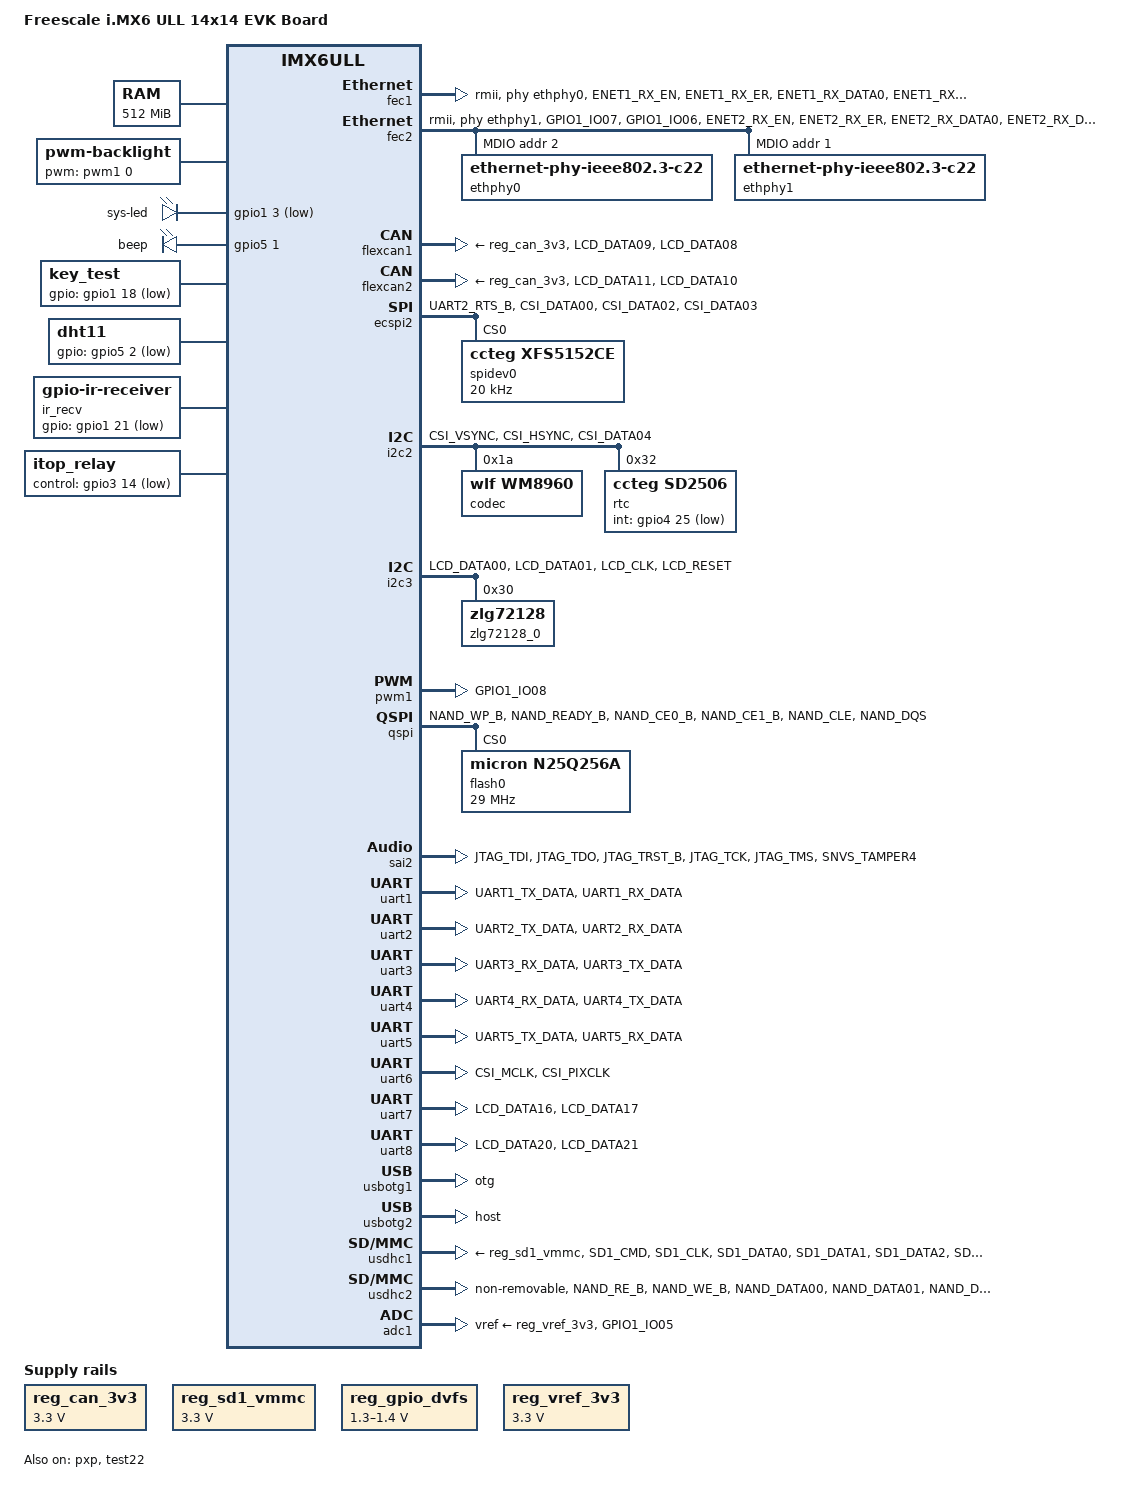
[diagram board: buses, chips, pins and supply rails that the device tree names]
/*
 * Copyright (C) 2016 Freescale Semiconductor, Inc.
 *
 * This program is free software; you can redistribute it and/or modify
 * it under the terms of the GNU General Public License version 2 as
 * published by the Free Software Foundation.
 */

/dts-v1/;

#include <dt-bindings/input/input.h>
#include "imx6ull.dtsi"

/ {
	model = "Freescale i.MX6 ULL 14x14 EVK Board";
	compatible = "fsl,imx6ull-14x14-evk", "fsl,imx6ull";

	chosen {
		stdout-path = &uart1;
	};

	memory {
		reg = <0x80000000 0x20000000>;
	};

	reserved-memory {
		#address-cells = <1>;
		#size-cells = <1>;
		ranges;

		linux,cma {
			compatible = "shared-dma-pool";
			reusable;
			size = <0x14000000>;
			linux,cma-default;
		};
	};

	backlight {
		compatible = "pwm-backlight";
		pwms = <&pwm1 0 5000000>;
		brightness-levels = <0 4 8 16 32 64 128 255>;
		default-brightness-level = <6>;
		status = "okay";
	};

	pxp_v4l2 {
		compatible = "fsl,imx6ul-pxp-v4l2", "fsl,imx6sx-pxp-v4l2", "fsl,imx6sl-pxp-v4l2";
		status = "okay";
	};

	regulators {
		compatible = "simple-bus";
		#address-cells = <1>;
		#size-cells = <0>;

		reg_can_3v3: regulator@0 {
			compatible = "regulator-fixed";
			reg = <0>;
			regulator-name = "can-3v3";
			regulator-min-microvolt = <3300000>;
			regulator-max-microvolt = <3300000>;
			/*gpios = <&gpio_spi 3 GPIO_ACTIVE_LOW>;*/
		};

		reg_sd1_vmmc: regulator@1 {
			compatible = "regulator-fixed";
			regulator-name = "VSD_3V3";
			regulator-min-microvolt = <3300000>;
			regulator-max-microvolt = <3300000>;
			/* gpio = <&gpio1 9 GPIO_ACTIVE_HIGH>; */
			enable-active-high;
		};

		reg_gpio_dvfs: regulator-gpio {
			compatible = "regulator-gpio";
			pinctrl-names = "default";
			pinctrl-0 = <&pinctrl_dvfs>;
			regulator-min-microvolt = <1300000>;
			regulator-max-microvolt = <1400000>;
			regulator-name = "gpio_dvfs";
			regulator-type = "voltage";
			gpios = <&gpio5 3 GPIO_ACTIVE_HIGH>;
			states = <1300000 0x1 1400000 0x0>;
		};

		reg_vref_3v3: regulator@2 {
                        compatible = "regulator-fixed";
                        regulator-name = "vref-3v3";
                        regulator-min-microvolt = <3300000>;
                        regulator-max-microvolt = <3300000>;
                };
	};

	leds {
		compatible = "gpio-leds";
		pinctrl-names = "default";
		pinctrl-0 = <&pinctrl_gpio_leds
			&pinctrl_beep>;

		led1{
			label = "sys-led";
			gpios = <&gpio1 3 GPIO_ACTIVE_LOW>;
			linux,default-trigger = "heartbeat";
			default-state = "on";
		};

		beep{
			label = "beep";
			gpios = <&gpio5 1 GPIO_ACTIVE_HIGH>;
			default-state = "off";
		};
	};

	/*gpio_keys: gpio_keys@0 {
		compatible = "gpio-keys";
		pinctrl-names = "default";
		pinctrl-0 = <&pinctrl_gpio_keys>;
		#address-cells = <1>;
		#size-cells = <0>;
		autorepeat;

		key1@1 {
			label = "USER-KEY1";
			linux,code = <114>;
			gpios = <&gpio1 18 GPIO_ACTIVE_LOW>;
			gpio-key,wakeup;
		};
	};*/
	key_test:key_test{
		compatible = "key_test";
		pinctrl-names = "defaults";
		pinctrl-0 = <&pinctrl_gpio_keys>;
		gpios = <&gpio1 18 GPIO_ACTIVE_LOW>;
	};

	sound {
		compatible = "fsl,imx6ul-evk-wm8960",
			   "fsl,imx-audio-wm8960";
		model = "wm8960-audio";
		cpu-dai = <&sai2>;
		audio-codec = <&codec>;
		asrc-controller = <&asrc>;
		codec-master;
		gpr = <&gpr 4 0x100000 0x100000>;
		/*
                 * hp-det = <hp-det-pin hp-det-polarity>;
		 * hp-det-pin: JD1 JD2  or JD3
		 * hp-det-polarity = 0: hp detect high for headphone
		 * hp-det-polarity = 1: hp detect high for speaker
		 */
		hp-det = <3 1>;
		/* hp-det-gpios = <&gpio5 4 0>;
		mic-det-gpios = <&gpio5 4 0>; */
		audio-routing =
			"Headphone Jack", "HP_L",
			"Headphone Jack", "HP_R",
			"Ext Spk", "SPK_LP",
			"Ext Spk", "SPK_LN",
			"Ext Spk", "SPK_RP",
			"Ext Spk", "SPK_RN",
			"LINPUT2", "Mic Jack",
			"LINPUT3", "Mic Jack",
			"RINPUT1", "Main MIC",
			"RINPUT2", "Main MIC",
			"Mic Jack", "MICB",
			"Main MIC", "MICB",
			"CPU-Playback", "ASRC-Playback",
			"Playback", "CPU-Playback",
			"ASRC-Capture", "CPU-Capture",
			"CPU-Capture", "Capture";
	};

/*
	spi4 {
		compatible = "spi-gpio";
		pinctrl-names = "default";
		pinctrl-0 = <&pinctrl_spi4>;
		pinctrl-assert-gpios = <&gpio5 8 GPIO_ACTIVE_LOW>;
		status = "disabled";//"okay";
		gpio-sck = <&gpio5 11 0>;
		gpio-mosi = <&gpio5 10 0>;
		cs-gpios = <&gpio5 7 0>;
		num-chipselects = <1>;
		#address-cells = <1>;
		#size-cells = <0>;

		gpio_spi: gpio_spi@0 {
			compatible = "fairchild,74hc595";
			gpio-controller;
			#gpio-cells = <2>;
			reg = <0>;
			registers-number = <1>;
			registers-default = /bits/ 8 <0x57>;
			spi-max-frequency = <100000>;
		};
	};
*/
	/*spi4 {
                compatible = "spi-gpio";
                pinctrl-names = "default";
                pinctrl-0 = <&pinctrl_spi4>;

                status = "okay";
                gpio-sck = <&gpio5 11 0>;
                gpio-mosi = <&gpio5 10 0>;
                gpio-miso = <&gpio3 7 0>;
                cs-gpios = <&gpio3 22 0>;
                num-chipselects = <1>;
                #address-cells = <1>;
                #size-cells = <0>;

                rc522: rc522@0 {
                        compatible = "rc522";
                        gpio-controller;
                        spi-tx-bus-width = <4>;
                        spi-rx-bus-width = <4>;
                        reset-rc522 = <&gpio3 5 0>;
                        reg = <0>;
                        spi-max-frequency = <4000000>;
                };
        };*/

	sii902x_reset: sii902x-reset {
		compatible = "gpio-reset";
		pinctrl-names = "default";
                pinctrl-0 = <&pinctrl_sii902x_reset>;
		reset-gpios = <&gpio3 21 GPIO_ACTIVE_LOW>;
		reset-delay-us = <100000>;
		#reset-cells = <0>;
		status = "disabled";
	};

	ds18b20{
                compatible = "w1-gpio";
                gpios = <&gpio5 2 GPIO_ACTIVE_HIGH>;
                linux,open-drain;
                pinctrl-names = "default";
                pinctrl-0 = <&pinctrl_onewire>;
                status = "disable";
        };

        dht11{
                compatible = "dht11";
                gpios = <&gpio5 2 GPIO_ACTIVE_LOW>;
                linux,open-drain;
                pinctrl-names = "default";
                pinctrl-0 = <&pinctrl_onewire>;
                status = "okay";
        };

	ir_recv:ir-receiver {
                        compatible = "gpio-ir-receiver";
                        #gpio-cells = <1>;
                        gpios = <&gpio1 21 GPIO_ACTIVE_LOW>;
                        pinctrl-names = "default";
                        pinctrl-0 = <&pinctrl_remote_control>;
                        linux,rc-map-name = "rc-lirc";
                        status = "okay";
        };

	relay {
                compatible = "itop_relay";
                pinctrl-names = "default";
                control-gpio = <&gpio3 14 1>;
                status = "okay";
        };
	test22:test2{
		#adress-cells = <1>;
		#size-cells = <1>;
		compatible = "test";
		reg = <0x20ac000 0x0000004>;
		status = "okay";
	};
};

&cpu0 {
	arm-supply = <&reg_arm>;
	soc-supply = <&reg_soc>;
	dc-supply = <&reg_gpio_dvfs>;
};

&clks {
	assigned-clocks = <&clks IMX6UL_CLK_PLL4_AUDIO_DIV>;
	assigned-clock-rates = <786432000>;
};

/*&csi {
	status = "okay";

	port {
		csi1_ep: endpoint {
			remote-endpoint = <&ov5640_ep>;
		};
	};
};*/

&fec1 {
	pinctrl-names = "default";
	pinctrl-0 = <&pinctrl_enet1
			&pinctrl_fec1_reset>;
	phy-mode = "rmii";
	phy-handle = <&ethphy0>;
	phy-reset-gpios = <&gpio3 19 GPIO_ACTIVE_LOW>;
	phy-reset-duration = <600>;
	status = "okay";
};

&fec2 {
	pinctrl-names = "default";
	pinctrl-0 = <&pinctrl_enet2
			&pinctrl_fec2_reset>;
	phy-mode = "rmii";
	phy-handle = <&ethphy1>;
	phy-reset-gpios = <&gpio3 23 GPIO_ACTIVE_LOW>;
	phy-reset-duration = <600>;
	status = "okay";

	mdio {
		#address-cells = <1>;
		#size-cells = <0>;

		ethphy0: ethernet-phy@2 {
			compatible = "ethernet-phy-ieee802.3-c22";
			reg = <2>;
		};

		ethphy1: ethernet-phy@1 {
			compatible = "ethernet-phy-ieee802.3-c22";
			reg = <1>;
		};
	};
};

&flexcan1 {
	pinctrl-names = "default";
	pinctrl-0 = <&pinctrl_flexcan1>;
	xceiver-supply = <&reg_can_3v3>;
	status = "okay";
};

&flexcan2 {
	pinctrl-names = "default";
	pinctrl-0 = <&pinctrl_flexcan2>;
	xceiver-supply = <&reg_can_3v3>;
	status = "okay";
};

&gpc {
	fsl,cpu_pupscr_sw2iso = <0x1>;
	fsl,cpu_pupscr_sw = <0x0>;
	fsl,cpu_pdnscr_iso2sw = <0x1>;
	fsl,cpu_pdnscr_iso = <0x1>;
	fsl,ldo-bypass = <0>; /* DCDC, ldo-enable */
};

/*&i2c1 {
	clock-frequency = <100000>;
	pinctrl-names = "default";
	pinctrl-0 = <&pinctrl_i2c1>;
	status = "okay";*/

/*
	mag3110@0e {
		compatible = "fsl,mag3110";
		reg = <0x0e>;
		position = <2>;
	};
*/

	/*fxls8471@1e {
		compatible = "fsl,fxls8471";
		reg = <0x1e>;
		position = <0>;
		interrupt-parent = <&gpio5>;
		interrupts = <0 8>;
	};*/

/*	mpu6050@68 {
                compatible = "mpu6050,INV_MPU6050";
		interrupt-parent = <&gpio5>;
                interrupts = <0 0>;
                reg = <0x68>;
                //position = <1>;
        };

	ap3216c@1e {
                compatible = "ap3216c";
                reg = <0x1e>;
        };

	eeprom1: eeprom@50 {
                compatible = "atmel,24c02";
                reg = <0x50>;
                pagesize = <16>;
        };
};*/

&ecspi2{
	fsl,spi-num-chipselects = <1>;
	cs-gpio = <&gpio1 23 GPIO_ACTIVE_LOW>;
	pinctrl-names = "default";
	pinctrl-0 = <&pinctrl_ecspi2>;
	status = "okay";
	#address-cells = <1>;
	#size-cells = <0>; 

	spidev0:xfs5152ce@0 {               /*@后面的0表示此SPI芯片接到哪个硬件片选上*/
		compatible = "ccteg,xfs5152ce";
		spi-max-frequency = <20000>;
		reg = <0>;
	};
};

&i2c2 {
	clock_frequency = <100000>;
	pinctrl-names = "default";
	pinctrl-0 = <&pinctrl_i2c2>;
	status = "okay";

	codec: wm8960@1a {
		compatible = "wlf,wm8960";
		reg = <0x1a>;
		clocks = <&clks IMX6UL_CLK_SAI2>;
		clock-names = "mclk";
		wlf,shared-lrclk;
	};

	/*ov5640: ov5640@3c {
		compatible = "ovti,ov5640";
		reg = <0x3c>;
		pinctrl-names = "default";
		pinctrl-0 = <&pinctrl_csi1
				&csi_pwn_rst>;
		clocks = <&clks IMX6UL_CLK_CSI>;
		clock-names = "csi_mclk";
		pwn-gpios = <&gpio1 4 1>;
		rst-gpios = <&gpio1 2 0>; 
		csi_id = <0>;
		mclk = <24000000>;
		mclk_source = <0>;
		status = "okay";
		port {
			ov5640_ep: endpoint {
				remote-endpoint = <&csi1_ep>;
			};
		};
	};*/

	tsc2007@48 {
                compatible = "ti,tsc2007";
                reg = <0x48>;
                pinctrl-names = "default";
                pinctrl-0 = <&ts_int_pin>;
                interrupt-parent = <&gpio1>;
                interrupts = <9 0>;
                gpios = <&gpio1 9 GPIO_ACTIVE_LOW>;
                ti,x-plate-ohms = <660>;
                status = "disabled";
	};

	edt-ft5x06@38 {
                compatible = "edt,edt-ft5306", "edt,edt-ft5x06", "edt,edt-ft5406";
                pinctrl-names = "default";
                pinctrl-0 = <&ts_int_pin
                             &ts_reset_pin>;

                reg = <0x38>;
                interrupt-parent = <&gpio1>;
                interrupts = <9 0>;
                reset-gpios = <&gpio5 9 GPIO_ACTIVE_LOW>;
                irq-gpios = <&gpio1 9 GPIO_ACTIVE_LOW>;
                status = "disabled";
        };

	goodix_ts@5d{
                        compatible = "goodix,gt911";
                        reg = <0x5d>;
			status = "disabled";
                        interrupt-parent = <&gpio1>;
                        interrupts = <9 0>;
			pinctrl-0 = <&ts_int_pin
                             	     &ts_reset_pin>;
                        goodix_rst=<&gpio5 9 0>;
                        goodix_int=<&gpio1 9 0>;

        };

	sii902x: sii902x@39 {
                compatible = "SiI,sii902x";
                pinctrl-names = "default";
                pinctrl-0 = <&pinctrl_sii902x>;
                interrupt-parent = <&gpio5>;
                interrupts = <3 IRQ_TYPE_EDGE_FALLING>;
                irq-gpios = <&gpio5 3 GPIO_ACTIVE_LOW>;
                mode_str = "1280x720M@60";
                bits-per-pixel = <16>;
                resets = <&sii902x_reset>;
                reg = <0x39>;
                status = "disabled";
        };

	rtc@32{
        compatible = "ccteg,sd2506";
                reg = <0x32>;
		int_gpios = <&gpio4 25 GPIO_ACTIVE_LOW>;
        };
};
&i2c3{
	clock_frequency = <400000>;
	pinctrl-names = "default";
	pinctrl-0 = <&pinctrl_i2c3>;
	status = "okay";
	zlg72128_0: zlg72128_0@30 {
				compatible = "zlg72128";
				reg = <0x30>;
				i2cline = <3>;
				sla = <0x30>;
				irq = <96>;
				rst = <100>;
				keys_list = <
				 1 2 3 4 5 6 7 8
				 9 30 48 46 32 18 33 34
				 35 23 36 37 38 50 49 24
				 59 60 61 62 63 64 65 66
				>;
				 };
};
&iomuxc {
	pinctrl-names = "default";
	pinctrl-0 = <&pinctrl_hog_1>;
	imx6ul-evk {
		pinctrl_hog_1: hoggrp-1 {
			fsl,pins = <
				MX6UL_PAD_UART1_RTS_B__GPIO1_IO19	0x17059 /* SD1 CD */
				MX6UL_PAD_GPIO1_IO05__USDHC1_VSELECT	0x17059 /* SD1 VSELECT */
				MX6UL_PAD_GPIO1_IO00__ANATOP_OTG1_ID    0x13058 /* USB_OTG1_ID */
			>;
		};

		/*pinctrl_csi1: csi1grp {
			fsl,pins = <
				MX6UL_PAD_CSI_MCLK__CSI_MCLK		0x1e038
				MX6UL_PAD_CSI_PIXCLK__CSI_PIXCLK	0x1b088
				MX6UL_PAD_CSI_VSYNC__CSI_VSYNC		0x1b088
				MX6UL_PAD_CSI_HSYNC__CSI_HSYNC		0x1b088
				MX6UL_PAD_CSI_DATA00__CSI_DATA02	0x1b088
				MX6UL_PAD_CSI_DATA01__CSI_DATA03	0x1b088
				MX6UL_PAD_CSI_DATA02__CSI_DATA04	0x1b088
				MX6UL_PAD_CSI_DATA03__CSI_DATA05	0x1b088
				MX6UL_PAD_CSI_DATA04__CSI_DATA06	0x1b088
				MX6UL_PAD_CSI_DATA05__CSI_DATA07	0x1b088
				MX6UL_PAD_CSI_DATA06__CSI_DATA08	0x1b088
				MX6UL_PAD_CSI_DATA07__CSI_DATA09	0x1b088
			>;
		};*/

		pinctrl_enet1: enet1grp {
			fsl,pins = <
				MX6UL_PAD_ENET1_RX_EN__ENET1_RX_EN	0x1b088
				MX6UL_PAD_ENET1_RX_ER__ENET1_RX_ER	0x1b088
				MX6UL_PAD_ENET1_RX_DATA0__ENET1_RDATA00	0x1b088
				MX6UL_PAD_ENET1_RX_DATA1__ENET1_RDATA01	0x1b088
				MX6UL_PAD_ENET1_TX_EN__ENET1_TX_EN	0x1b088
				MX6UL_PAD_ENET1_TX_DATA0__ENET1_TDATA00	0x1b088
				MX6UL_PAD_ENET1_TX_DATA1__ENET1_TDATA01	0x1b088
				MX6UL_PAD_ENET1_TX_CLK__ENET1_REF_CLK1	0x4001b039
			>;
		};

		pinctrl_enet2: enet2grp {
			fsl,pins = <
				MX6UL_PAD_GPIO1_IO07__ENET2_MDC		0x1b088
				MX6UL_PAD_GPIO1_IO06__ENET2_MDIO	0x1b088
				MX6UL_PAD_ENET2_RX_EN__ENET2_RX_EN	0x1b088
				MX6UL_PAD_ENET2_RX_ER__ENET2_RX_ER	0x1b088
				MX6UL_PAD_ENET2_RX_DATA0__ENET2_RDATA00	0x1b088
				MX6UL_PAD_ENET2_RX_DATA1__ENET2_RDATA01	0x1b088
				MX6UL_PAD_ENET2_TX_EN__ENET2_TX_EN	0x1b088
				MX6UL_PAD_ENET2_TX_DATA0__ENET2_TDATA00	0x1b088
				MX6UL_PAD_ENET2_TX_DATA1__ENET2_TDATA01	0x1b088
				MX6UL_PAD_ENET2_TX_CLK__ENET2_REF_CLK2	0x4001b039
			>;
		};

		pinctrl_gpio_leds: gpio-leds {
			fsl,pins = <
				MX6UL_PAD_GPIO1_IO03__GPIO1_IO03        0x17059
			>;
		};

		pinctrl_gpio_keys: gpio-keys {
			fsl,pins = <
				MX6UL_PAD_UART1_CTS_B__GPIO1_IO18       0x80000000
			>;
		};

		pinctrl_flexcan1: flexcan1grp{
			fsl,pins = <
				MX6UL_PAD_LCD_DATA09__FLEXCAN1_RX	0x1b020
				MX6UL_PAD_LCD_DATA08__FLEXCAN1_TX 	0x1b020
			>;
		};

		pinctrl_flexcan2: flexcan2grp{
			fsl,pins = <
				MX6UL_PAD_LCD_DATA11__FLEXCAN2_RX	0x1b020
				MX6UL_PAD_LCD_DATA10__FLEXCAN2_TX	0x1b020
			>;
		};

		/*pinctrl_i2c1: i2c1grp {
			fsl,pins = <
				MX6UL_PAD_UART4_TX_DATA__I2C1_SCL 0x4001b8b0
				MX6UL_PAD_UART4_RX_DATA__I2C1_SDA 0x4001b8b0
			>;
		};*/

		pinctrl_i2c2: i2c2grp {
			fsl,pins = <

				MX6UL_PAD_CSI_VSYNC__I2C2_SDA 			0x4001b8b0
				MX6UL_PAD_CSI_HSYNC__I2C2_SCL			0x4001b8b0
				MX6UL_PAD_CSI_DATA04__GPIO4_IO25  		0x1a090
				/*MX6UL_PAD_UART5_TX_DATA__I2C2_SCL 0x4001b8b0
				MX6UL_PAD_UART5_RX_DATA__I2C2_SDA 0x4001b8b0*/
			>;
		};

		pinctrl_i2c3: i2c3grp{
			fsl,pins = <

				MX6UL_PAD_LCD_DATA00__I2C3_SDA 			0x4001b8b0
				MX6UL_PAD_LCD_DATA01__I2C3_SCL			0x4001b8b0
				MX6UL_PAD_LCD_CLK__GPIO3_IO00			0x1a090
				MX6UL_PAD_LCD_RESET__GPIO3_IO04  		0x1a090
			>;
		};

		/*pinctrl_lcdif_dat: lcdifdatgrp {
			fsl,pins = <*/
				/*MX6UL_PAD_LCD_DATA00__LCDIF_DATA00  0x79*/
				/* MX6UL_PAD_LCD_DATA01__LCDIF_DATA01  0x79 */
				/*MX6UL_PAD_LCD_DATA02__LCDIF_DATA02  0x79*/
				/* MX6UL_PAD_LCD_DATA03__LCDIF_DATA03  0x79
				MX6UL_PAD_LCD_DATA04__LCDIF_DATA04  0x79
				MX6UL_PAD_LCD_DATA05__LCDIF_DATA05  0x79
				MX6UL_PAD_LCD_DATA06__LCDIF_DATA06  0x79
				MX6UL_PAD_LCD_DATA07__LCDIF_DATA07  0x79 */
				/*MX6UL_PAD_LCD_DATA08__LCDIF_DATA08  0x79*/
				/*MX6UL_PAD_LCD_DATA09__LCDIF_DATA09  0x79*/
				/* MX6UL_PAD_LCD_DATA10__LCDIF_DATA10  0x79
				MX6UL_PAD_LCD_DATA11__LCDIF_DATA11  0x79
				MX6UL_PAD_LCD_DATA12__LCDIF_DATA12  0x79
				MX6UL_PAD_LCD_DATA13__LCDIF_DATA13  0x79
				MX6UL_PAD_LCD_DATA14__LCDIF_DATA14  0x79
				MX6UL_PAD_LCD_DATA15__LCDIF_DATA15  0x79 */
				/*MX6UL_PAD_LCD_DATA16__LCDIF_DATA16  0x79*/
				/*MX6UL_PAD_LCD_DATA17__LCDIF_DATA17  0x79*/
		/* 		MX6UL_PAD_LCD_DATA18__LCDIF_DATA18  0x79
				MX6UL_PAD_LCD_DATA19__LCDIF_DATA19  0x79
				MX6UL_PAD_LCD_DATA20__LCDIF_DATA20  0x79
				MX6UL_PAD_LCD_DATA21__LCDIF_DATA21  0x79
				MX6UL_PAD_LCD_DATA22__LCDIF_DATA22  0x79
				MX6UL_PAD_LCD_DATA23__LCDIF_DATA23  0x79
			>;
		};
 */
	/* 	pinctrl_lcdif_ctrl: lcdifctrlgrp {
			fsl,pins = <
				MX6UL_PAD_LCD_CLK__LCDIF_CLK	    0x79
				MX6UL_PAD_LCD_ENABLE__LCDIF_ENABLE  0x79
				MX6UL_PAD_LCD_HSYNC__LCDIF_HSYNC    0x79
				MX6UL_PAD_LCD_VSYNC__LCDIF_VSYNC    0x79
				MX6UL_PAD_LCD_DATA08__GPIO3_IO13        0x17059
			>;
		}; */

		pinctrl_pwm1: pwm1grp {
			fsl,pins = <
				MX6UL_PAD_GPIO1_IO08__PWM1_OUT   0x110b0
			>;
		};

		pinctrl_qspi: qspigrp {
			fsl,pins = <
				MX6UL_PAD_NAND_WP_B__QSPI_A_SCLK      0x70a1
				MX6UL_PAD_NAND_READY_B__QSPI_A_DATA00 0x70a1
				MX6UL_PAD_NAND_CE0_B__QSPI_A_DATA01   0x70a1
				MX6UL_PAD_NAND_CE1_B__QSPI_A_DATA02   0x70a1
				MX6UL_PAD_NAND_CLE__QSPI_A_DATA03     0x70a1
				MX6UL_PAD_NAND_DQS__QSPI_A_SS0_B      0x70a1
			>;
		};

		pinctrl_sai2: sai2grp {
			fsl,pins = <
				MX6UL_PAD_JTAG_TDI__SAI2_TX_BCLK	0x17088
				MX6UL_PAD_JTAG_TDO__SAI2_TX_SYNC	0x17088
				MX6UL_PAD_JTAG_TRST_B__SAI2_TX_DATA	0x11088
				MX6UL_PAD_JTAG_TCK__SAI2_RX_DATA	0x11088
				MX6UL_PAD_JTAG_TMS__SAI2_MCLK		0x17088
				MX6UL_PAD_SNVS_TAMPER4__GPIO5_IO04      0x17059
			>;
		};

		pinctrl_sii902x: hdmigrp-1 {
                        fsl,pins = <
				MX6ULL_PAD_SNVS_TAMPER3__GPIO5_IO03      0x17059	/*0x11*/
                        >;
                };

		pinctrl_sii902x_reset: hdmigrp_reset-1 {
                        fsl,pins = <
                        	MX6UL_PAD_LCD_DATA16__GPIO3_IO21        0x1b0b0
                        >;
                };

		pinctrl_tsc: tscgrp {
			fsl,pins = <
				MX6UL_PAD_GPIO1_IO01__GPIO1_IO01	0xb0
				MX6UL_PAD_GPIO1_IO02__GPIO1_IO02	0xb0
				MX6UL_PAD_GPIO1_IO03__GPIO1_IO03	0xb0
				MX6UL_PAD_GPIO1_IO04__GPIO1_IO04	0xb0
			>;
		};

		pinctrl_uart1: uart1grp {
			fsl,pins = <
				MX6UL_PAD_UART1_TX_DATA__UART1_DCE_TX 0x1b0b1
				MX6UL_PAD_UART1_RX_DATA__UART1_DCE_RX 0x1b0b1
			>;
		};

		pinctrl_uart2: uart2grp {
			fsl,pins = <
				MX6UL_PAD_UART2_TX_DATA__UART2_DCE_TX	0x1b0b1
				MX6UL_PAD_UART2_RX_DATA__UART2_DCE_RX	0x1b0b1
				/*MX6UL_PAD_UART3_RX_DATA__UART2_DCE_RTS	0x1b0b1
				MX6UL_PAD_UART3_TX_DATA__UART2_DCE_CTS	0x1b0b1*/
			>;
		};

		/*pinctrl_uart2dte: uart2dtegrp {
			fsl,pins = <
				MX6UL_PAD_UART2_TX_DATA__UART2_DTE_RX	0x1b0b1
				MX6UL_PAD_UART2_RX_DATA__UART2_DTE_TX	0x1b0b1
				MX6UL_PAD_UART3_RX_DATA__UART2_DTE_CTS	0x1b0b1
				MX6UL_PAD_UART3_TX_DATA__UART2_DTE_RTS	0x1b0b1
			>;
		};*/

		pinctrl_uart3: uart3grp {
			fsl,pins = <
				MX6UL_PAD_UART3_RX_DATA__UART3_DCE_RX   0x1b0b1
				MX6UL_PAD_UART3_TX_DATA__UART3_DCE_TX   0x1b0b1
			>;
		};

		pinctrl_uart4: uart4grp {
			fsl,pins = <
				MX6UL_PAD_UART4_RX_DATA__UART4_DCE_RX 0x1b0b1
				MX6UL_PAD_UART4_TX_DATA__UART4_DCE_TX 0x1b0b1
			>;
		};
		
		pinctrl_uart5: uart5grp {
			fsl,pins = <
				MX6UL_PAD_UART5_TX_DATA__UART5_DCE_TX 0x1b0b1
				MX6UL_PAD_UART5_RX_DATA__UART5_DCE_RX 0x1b0b1
			>;
		};
	
		pinctrl_uart6: uart6grp {
			fsl,pins = <
				MX6UL_PAD_CSI_MCLK__UART6_DCE_TX 0x1b0b1
				MX6UL_PAD_CSI_PIXCLK__UART6_DCE_RX 0x1b0b1
			>;
		};

		pinctrl_uart7: uart7grp {
			fsl,pins = <
				MX6UL_PAD_LCD_DATA16__UART7_DCE_TX 0x1b0b1
				MX6UL_PAD_LCD_DATA17__UART7_DCE_RX 0x1b0b1
			>;
		};

		pinctrl_uart8: uart8grp {
			fsl,pins = <
				MX6UL_PAD_LCD_DATA20__UART8_DCE_TX 0x1b0b1
				MX6UL_PAD_LCD_DATA21__UART8_DCE_RX 0x1b0b1
			>;
		};

		pinctrl_usdhc1: usdhc1grp {
			fsl,pins = <
				MX6UL_PAD_SD1_CMD__USDHC1_CMD     0x17059
				MX6UL_PAD_SD1_CLK__USDHC1_CLK     0x10071
				MX6UL_PAD_SD1_DATA0__USDHC1_DATA0 0x17059
				MX6UL_PAD_SD1_DATA1__USDHC1_DATA1 0x17059
				MX6UL_PAD_SD1_DATA2__USDHC1_DATA2 0x17059
				MX6UL_PAD_SD1_DATA3__USDHC1_DATA3 0x17059
			>;
		};

		pinctrl_usdhc1_100mhz: usdhc1grp100mhz {
			fsl,pins = <
				MX6UL_PAD_SD1_CMD__USDHC1_CMD     0x170b9
				MX6UL_PAD_SD1_CLK__USDHC1_CLK     0x100b9
				MX6UL_PAD_SD1_DATA0__USDHC1_DATA0 0x170b9
				MX6UL_PAD_SD1_DATA1__USDHC1_DATA1 0x170b9
				MX6UL_PAD_SD1_DATA2__USDHC1_DATA2 0x170b9
				MX6UL_PAD_SD1_DATA3__USDHC1_DATA3 0x170b9
			>;
		};

		pinctrl_usdhc1_200mhz: usdhc1grp200mhz {
			fsl,pins = <
				MX6UL_PAD_SD1_CMD__USDHC1_CMD     0x170f9
				MX6UL_PAD_SD1_CLK__USDHC1_CLK     0x100f9
				MX6UL_PAD_SD1_DATA0__USDHC1_DATA0 0x170f9
				MX6UL_PAD_SD1_DATA1__USDHC1_DATA1 0x170f9
				MX6UL_PAD_SD1_DATA2__USDHC1_DATA2 0x170f9
				MX6UL_PAD_SD1_DATA3__USDHC1_DATA3 0x170f9
			>;
		};

		pinctrl_usdhc2: usdhc2grp {
			fsl,pins = <
				MX6UL_PAD_NAND_RE_B__USDHC2_CLK     0x10069
				MX6UL_PAD_NAND_WE_B__USDHC2_CMD     0x17059
				MX6UL_PAD_NAND_DATA00__USDHC2_DATA0 0x17059
				MX6UL_PAD_NAND_DATA01__USDHC2_DATA1 0x17059
				MX6UL_PAD_NAND_DATA02__USDHC2_DATA2 0x17059
				MX6UL_PAD_NAND_DATA03__USDHC2_DATA3 0x17059
			>;
		};

		pinctrl_usdhc2_8bit: usdhc2grp_8bit {
			fsl,pins = <
				MX6UL_PAD_NAND_RE_B__USDHC2_CLK     0x10069
				MX6UL_PAD_NAND_WE_B__USDHC2_CMD     0x17059
				MX6UL_PAD_NAND_DATA00__USDHC2_DATA0 0x17059
				MX6UL_PAD_NAND_DATA01__USDHC2_DATA1 0x17059
				MX6UL_PAD_NAND_DATA02__USDHC2_DATA2 0x17059
				MX6UL_PAD_NAND_DATA03__USDHC2_DATA3 0x17059
				MX6UL_PAD_NAND_DATA04__USDHC2_DATA4 0x17059
				MX6UL_PAD_NAND_DATA05__USDHC2_DATA5 0x17059
				MX6UL_PAD_NAND_DATA06__USDHC2_DATA6 0x17059
				MX6UL_PAD_NAND_DATA07__USDHC2_DATA7 0x17059
			>;
		};

		pinctrl_usdhc2_8bit_100mhz: usdhc2grp_8bit_100mhz {
			fsl,pins = <
				MX6UL_PAD_NAND_RE_B__USDHC2_CLK     0x100b9
				MX6UL_PAD_NAND_WE_B__USDHC2_CMD     0x170b9
				MX6UL_PAD_NAND_DATA00__USDHC2_DATA0 0x170b9
				MX6UL_PAD_NAND_DATA01__USDHC2_DATA1 0x170b9
				MX6UL_PAD_NAND_DATA02__USDHC2_DATA2 0x170b9
				MX6UL_PAD_NAND_DATA03__USDHC2_DATA3 0x170b9
				MX6UL_PAD_NAND_DATA04__USDHC2_DATA4 0x170b9
				MX6UL_PAD_NAND_DATA05__USDHC2_DATA5 0x170b9
				MX6UL_PAD_NAND_DATA06__USDHC2_DATA6 0x170b9
				MX6UL_PAD_NAND_DATA07__USDHC2_DATA7 0x170b9
			>;
		};

		pinctrl_usdhc2_8bit_200mhz: usdhc2grp_8bit_200mhz {
			fsl,pins = <
				MX6UL_PAD_NAND_RE_B__USDHC2_CLK     0x100f9
				MX6UL_PAD_NAND_WE_B__USDHC2_CMD     0x170f9
				MX6UL_PAD_NAND_DATA00__USDHC2_DATA0 0x170f9
				MX6UL_PAD_NAND_DATA01__USDHC2_DATA1 0x170f9
				MX6UL_PAD_NAND_DATA02__USDHC2_DATA2 0x170f9
				MX6UL_PAD_NAND_DATA03__USDHC2_DATA3 0x170f9
				MX6UL_PAD_NAND_DATA04__USDHC2_DATA4 0x170f9
				MX6UL_PAD_NAND_DATA05__USDHC2_DATA5 0x170f9
				MX6UL_PAD_NAND_DATA06__USDHC2_DATA6 0x170f9
				MX6UL_PAD_NAND_DATA07__USDHC2_DATA7 0x170f9
			>;
		};

		/*pinctrl_wdog: wdoggrp {
			fsl,pins = <
				MX6UL_PAD_LCD_RESET__WDOG1_WDOG_ANY    0x30b0
			>;
		};*/

		ts_int_pin: ts_int_pin_mux {
                        fsl,pins = <
                                MX6UL_PAD_GPIO1_IO09__GPIO1_IO09        0x49
                        >;
                };

                csi_pwn_rst: csi_pwn_rstgrp {
                        fsl,pins = <
                                MX6UL_PAD_GPIO1_IO02__GPIO1_IO02        0x10b0
                                MX6UL_PAD_GPIO1_IO04__GPIO1_IO04        0x10b0
                        >;
                };

		pinctrl_onewire: onewire {
                        fsl,pins = <
                                //MX6UL_PAD_GPIO1_IO02__GPIO1_IO02          0x000090B1     DHT11
                                //MX6UL_PAD_GPIO1_IO02__GPIO1_IO02          0x400138B1
				MX6ULL_PAD_SNVS_TAMPER2__GPIO5_IO02      0x79
                        >;
                };

		pinctrl_adc1: adc1grp{
                        fsl,pins = <
                                MX6UL_PAD_GPIO1_IO05__GPIO1_IO05          0x000010B1
                        >;
                };

		pinctrl_remote_control: remote_control {
                        fsl,pins = <
                               /* MX6UL_PAD_UART2_RX_DATA__GPIO1_IO21     0x000010B1*/
                        >;
                };
		pinctrl_fec1_reset: fec1_resetgrp {
                        fsl,pins = <
                                MX6UL_PAD_LCD_DATA14__GPIO3_IO19       0x79
                        >;
                };

        pinctrl_fec2_reset: fec2_resetgrp {
                        fsl,pins = <
                                MX6UL_PAD_LCD_DATA18__GPIO3_IO23       0x79
                        >;
                };

		pinctrl_ecspi2:ecspi3grp {
						fsl,pins = <
								MX6UL_PAD_UART2_RTS_B__GPIO1_IO23     0x1a090
								MX6UL_PAD_CSI_DATA00__ECSPI2_SCLK	  0x11090
								MX6UL_PAD_CSI_DATA02__ECSPI2_MOSI	  0x11090
								MX6UL_PAD_CSI_DATA03__ECSPI2_MISO	  0x11090
						>;
				};
	};
};

&iomuxc_snvs {
	pinctrl-names = "default_snvs";
        pinctrl-0 = <&pinctrl_hog_2>;
        imx6ul-evk {
		pinctrl_hog_2: hoggrp-2 {
                        fsl,pins = <
                                MX6ULL_PAD_SNVS_TAMPER0__GPIO5_IO00      0x80000000
                        >;
                };

		pinctrl_dvfs: dvfsgrp {
                        fsl,pins = <
                                /*MX6ULL_PAD_SNVS_TAMPER3__GPIO5_IO03      0x79*/
                        >;
                };

/* 		pinctrl_lcdif_reset: lcdifresetgrp {
                        fsl,pins = < */
                                /* used for lcd reset */
                       /*          MX6ULL_PAD_SNVS_TAMPER9__GPIO5_IO09  0x49
                        >;
                }; */

		pinctrl_spi4: spi4grp {
                        fsl,pins = <
                                MX6ULL_PAD_BOOT_MODE0__GPIO5_IO10        0x70a1		/*MOSI*/
                                MX6ULL_PAD_BOOT_MODE1__GPIO5_IO11        0x70a1		/*SCK*/
				MX6UL_PAD_LCD_DATA17__GPIO3_IO22  	0x80000000	/*CS*/
				MX6UL_PAD_LCD_DATA02__GPIO3_IO07        0x70a1		/*MISO*/
				MX6UL_PAD_LCD_DATA00__GPIO3_IO05         0x17059	/* rc522 reset*/
                        >;
                };

		/*pinctrl_fec1_reset: fec1_resetgrp {
                        fsl,pins = <
                                MX6ULL_PAD_SNVS_TAMPER7__GPIO5_IO07     0x79
                        >;
                };

                pinctrl_fec2_reset: fec2_resetgrp {
                        fsl,pins = <
                                MX6ULL_PAD_SNVS_TAMPER8__GPIO5_IO08     0x79
                        >;
                };*/

                pinctrl_sai2_hp_det_b: sai2_hp_det_grp {
                        fsl,pins = <
                                MX6ULL_PAD_SNVS_TAMPER4__GPIO5_IO04   0x17059
                        >;
                };

		ts_reset_pin: ts_reset_pin_mux {
                        fsl,pins = <
                                MX6ULL_PAD_SNVS_TAMPER9__GPIO5_IO09     0x49
                        >;
                };

                pinctrl_beep: beep {
                        fsl,pins = <
                                MX6ULL_PAD_SNVS_TAMPER1__GPIO5_IO01     0x17059
                        >;
                };
        };
};


/* &lcdif {
	pinctrl-names = "default";
	pinctrl-0 = <&pinctrl_lcdif_dat
		     &pinctrl_lcdif_ctrl>;
	display = <&display0>;
	status = "okay";

	bk_vdd = <&gpio3 13 GPIO_ACTIVE_HIGH>;

	display0: display {
		bits-per-pixel = <16>;
		bus-width = <24>;

		display-timings {
			native-mode = <&timing0>;
			timing0: timing0 {
			clock-frequency = <35500000>;
			hactive = <800>;
			vactive = <480>;
			hfront-porch = <210>;
			hback-porch = <46>;
			hsync-len = <20>;
			vback-porch = <23>;
			vfront-porch = <22>;
			vsync-len = <3>;

			hsync-active = <0>;
			vsync-active = <0>;
			de-active = <1>;
			pixelclk-active = <1>;
			};
		};
	};
}; */

&pwm1 {
	pinctrl-names = "default";
	pinctrl-0 = <&pinctrl_pwm1>;
	status = "okay";
};

&pxp {
	status = "okay";
};

&qspi {
	pinctrl-names = "default";
	pinctrl-0 = <&pinctrl_qspi>;
	status = "okay";
	ddrsmp=<0>;

	flash0: n25q256a@0 {
		#address-cells = <1>;
		#size-cells = <1>;
		compatible = "micron,n25q256a";
		spi-max-frequency = <29000000>;
		spi-nor,ddr-quad-read-dummy = <6>;
		reg = <0>;
	};
};

&sai2 {
	pinctrl-names = "default";
	pinctrl-0 = <&pinctrl_sai2>;

	assigned-clocks = <&clks IMX6UL_CLK_SAI2_SEL>,
			  <&clks IMX6UL_CLK_SAI2>;
	assigned-clock-parents = <&clks IMX6UL_CLK_PLL4_AUDIO_DIV>;
	assigned-clock-rates = <0>, <12288000>;

	status = "okay";
};

&tsc {
	pinctrl-names = "default";
	pinctrl-0 = <&pinctrl_tsc>;
	xnur-gpio = <&gpio1 3 GPIO_ACTIVE_LOW>;
	measure-delay-time = <0xffff>;
	pre-charge-time = <0xfff>;
	status = "disabled";//"okay";
};

&uart1 {
	pinctrl-names = "default";
	pinctrl-0 = <&pinctrl_uart1>;
	status = "okay";
};

&uart2 {
	pinctrl-names = "default";
	pinctrl-0 = <&pinctrl_uart2>;
	/*fsl,uart-has-rtscts;*/
	/* for DTE mode, add below change */
	/* fsl,dte-mode; */
	/* pinctrl-0 = <&pinctrl_uart2dte>; */
	status = "okay";//"okay";
};

&uart3 {
        pinctrl-names = "default";
        pinctrl-0 = <&pinctrl_uart3>;
        status = "okay";
};

&uart4 {
	pinctrl-names = "default";
	pinctrl-0 = <&pinctrl_uart4>;
	status = "okay";
};

&uart5 {
	pinctrl-names = "default";
	pinctrl-0 = <&pinctrl_uart5>;
	status = "okay";
};

&uart6 {
	pinctrl-names = "default";
	pinctrl-0 = <&pinctrl_uart6>;
	status = "okay";
};

&uart7 {
	pinctrl-names = "default";
	pinctrl-0 = <&pinctrl_uart7>;
	status = "okay";
};

&uart8 {
	pinctrl-names = "default";
	pinctrl-0 = <&pinctrl_uart8>;
	status = "okay";
};

&usbotg1 {
	dr_mode = "otg";
	srp-disable;
	hnp-disable;
	adp-disable;
	status = "okay";
};

&usbotg2 {
	dr_mode = "host";
	disable-over-current;
	status = "okay";
};

&usbphy1 {
	tx-d-cal = <0x5>;
};

&usbphy2 {
	tx-d-cal = <0x5>;
};

&usdhc1 {
	pinctrl-names = "default", "state_100mhz", "state_200mhz";
	pinctrl-0 = <&pinctrl_usdhc1>;
	pinctrl-1 = <&pinctrl_usdhc1_100mhz>;
	pinctrl-2 = <&pinctrl_usdhc1_200mhz>;
	cd-gpios = <&gpio1 19 GPIO_ACTIVE_LOW>;
	keep-power-in-suspend;
	enable-sdio-wakeup;
	vmmc-supply = <&reg_sd1_vmmc>;
	no-1-8-v;
	status = "okay";
};

&usdhc2 {
	pinctrl-names = "default";
	pinctrl-0 = <&pinctrl_usdhc2>;
	non-removable;
	status = "okay";
};

/*&wdog1 {
	pinctrl-names = "default";
	pinctrl-0 = <&pinctrl_wdog>;
	fsl,wdog_b;
};*/

&adc1 {
        pinctrl-names = "default";
        pinctrl-0 = <&pinctrl_adc1>;
        vref-supply = <&reg_vref_3v3>;
        num-channels = <6>;
	status = "okay";
};
